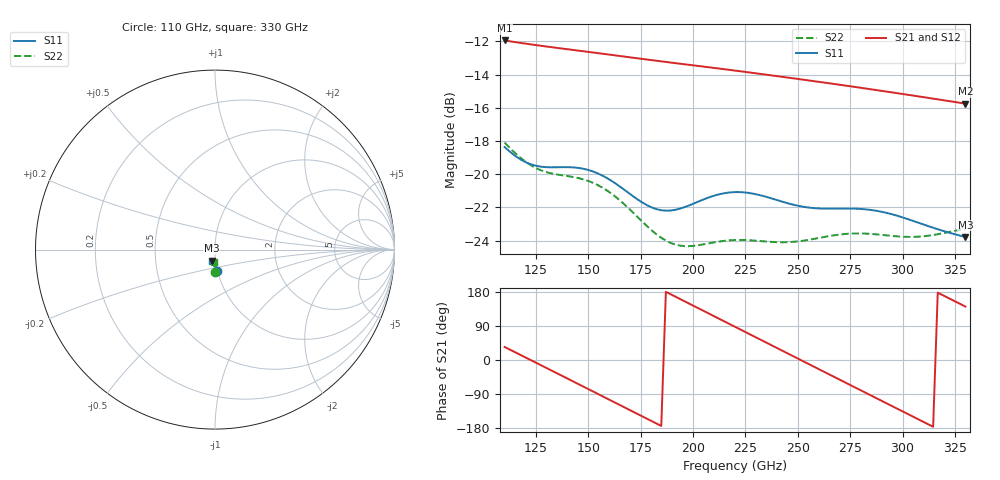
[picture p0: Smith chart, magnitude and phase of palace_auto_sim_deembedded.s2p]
! Created with skrf 1.11.0 (http://scikit-rf.org).
# GHz S DB R 50.0
!freq dBS11 angS11 dBS21 angS21 dBS12 angS12 dBS22 angS22
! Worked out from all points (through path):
!   101 points, 110 GHz to 330 GHz, reference 50 ohm
!   highest |S21| = -11.94 dB at 110 GHz (marker M1); lowest = -15.8 dB at 330 GHz (marker M2)
!   group delay of S21, straight-line fit = 7.75 ps
!   lowest |S11| = -23.8 dB at 330 GHz (marker M3), VSWR 1.14, Z = 47.8 - j5.94 ohm
!   |S11| at or under -10 dB: start of sweep to end of sweep
!   |S22| runs from -24.3 to -18.1 dB; largest |S21 - S12| = 2.8e-13
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110  -18.37 -84.9  -11.94 34.4  -11.94 34.4  -18.10 -89.3
118.8  -19.20 -83.3  -12.11 10.0  -12.11 10.0  -19.14 -89.1
127.6  -19.55 -81.2  -12.27 -14.4  -12.27 -14.4  -19.78 -87.6
138.6  -19.58 -81.3  -12.45 -45.1  -12.45 -45.1  -20.09 -87.4
147.4  -19.67 -83.9  -12.59 -69.6  -12.59 -69.6  -20.31 -89.7
156.2  -20.06 -87.3  -12.73 -94.2  -12.73 -94.2  -20.78 -93.3
165  -20.74 -89.7  -12.88 -118.8  -12.88 -118.8  -21.58 -96.4
176  -21.73 -89.0  -13.06 -149.5  -13.06 -149.5  -22.90 -97.2
184.8  -22.17 -85.6  -13.20 -174.0  -13.20 -174.0  -23.84 -94.2
193.6  -22.08 -82.2  -13.34 161.4  -13.34 161.4  -24.31 -89.5
204.6  -21.54 -81.5  -13.51 130.7  -13.51 130.7  -24.24 -85.0
220  -21.08 -86.4  -13.76 87.7  -13.76 87.7  -23.97 -84.2
228.8  -21.18 -90.0  -13.90 63.1  -13.90 63.1  -24.00 -84.6
239.8  -21.55 -93.2  -14.09 32.3  -14.09 32.3  -24.10 -84.4
248.6  -21.87 -94.3  -14.24 7.8  -14.24 7.8  -24.07 -83.8
257.4  -22.04 -94.8  -14.39 -16.8  -14.39 -16.8  -23.91 -83.7
268.4  -22.08 -95.9  -14.59 -47.5  -14.59 -47.5  -23.67 -84.9
277.2  -22.08 -97.7  -14.74 -72.0  -14.74 -72.0  -23.58 -86.8
286  -22.18 -100.2  -14.91 -96.6  -14.91 -96.6  -23.61 -88.6
294.8  -22.41 -102.7  -15.07 -121.1  -15.07 -121.1  -23.72 -89.8
312.4  -23.14 -105.9  -15.41 -170.1  -15.41 -170.1  -23.71 -90.6
330  -23.79 -106.9  -15.75 141.0  -15.75 141.0  -23.30 -93.9
